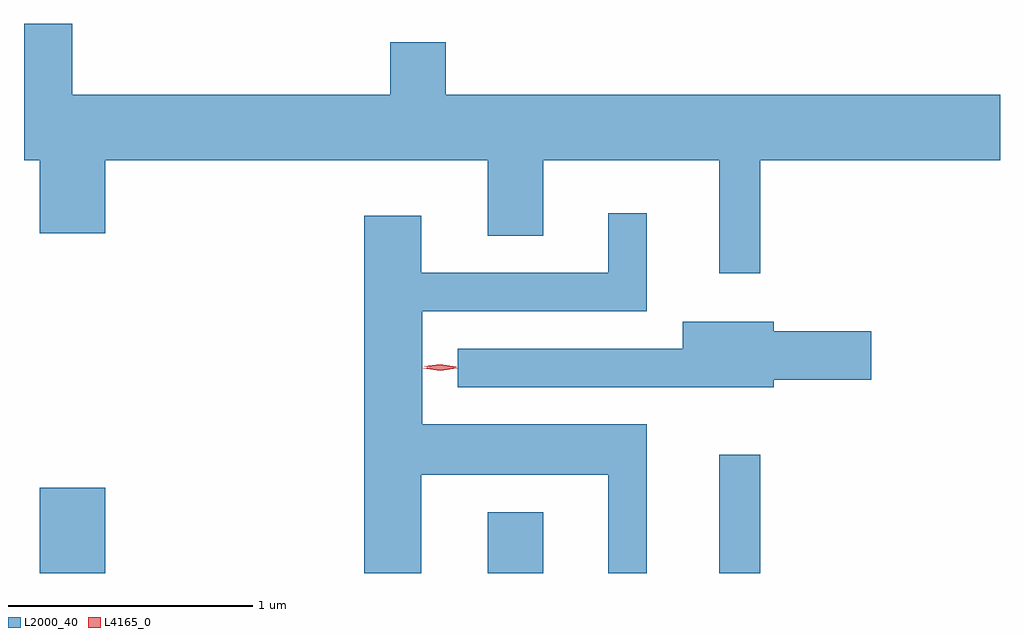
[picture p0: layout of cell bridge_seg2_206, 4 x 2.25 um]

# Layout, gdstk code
import gdstk
lib = gdstk.Library(unit=1e-6, precision=1e-09)
def R(c, l, rs):  # rectangles x0, y0, x1, y1
    for r in rs: c.add(gdstk.rectangle(r[:2], r[2:], *l))
def P(c, l, *ps):  # polygons
    for p in ps: c.add(gdstk.Polygon(p, *l))
L2000_40 = (2000, 40)
L4165_0 = (4165, 0)

bridge_seg2_206 = lib.new_cell('bridge_seg2_206')
R(bridge_seg2_206, L2000_40, [(914.376,977.802,914.644,978.154), (916.211,977.802,916.439,978.054), (917.161,977.802,917.329,978.288)])
P(bridge_seg2_206, L2000_40, [(917.329,979.496),(918.311,979.496),(918.311,979.764),(916.039,979.764),(916.039,979.979),(915.811,979.979),(915.811,979.764),(914.509,979.764),(914.509,980.056),(914.311,980.056),(914.311,979.496),(914.376,979.496),(914.376,979.196),(914.644,979.196),(914.644,979.496),(916.211,979.496),(916.211,979.186),(916.439,979.186),(916.439,979.496),(917.161,979.496),(917.161,979.033),(917.329,979.033)],
  [(915.939,978.206),(916.706,978.206),(916.706,977.802),(916.864,977.802),(916.864,978.414),(915.944,978.414),(915.944,978.876),(916.864,978.876),(916.864,979.278),(916.706,979.278),(916.706,979.034),(915.939,979.034),(915.939,979.269),(915.706,979.269),(915.706,977.802),(915.939,977.802)],
  [(917.384,978.596),(917.784,978.596),(917.784,978.794),(917.384,978.794),(917.384,978.834),(917.011,978.834),(917.011,978.724),(916.088,978.724),(916.088,978.566),(917.384,978.566)])
P(bridge_seg2_206, L4165_0, [(916.016,978.64),(915.951,978.651),(915.95,978.652),(915.951,978.652),(916.017,978.66),(916.082,978.649),(916.083,978.649),(916.082,978.648)],
  [(916.017,978.633),(915.948,978.643),(915.947,978.643),(915.948,978.644),(916.017,978.653),(916.086,978.644),(916.086,978.643),(916.086,978.643)])

lib.write_gds('bridge_seg2_206.gds')
